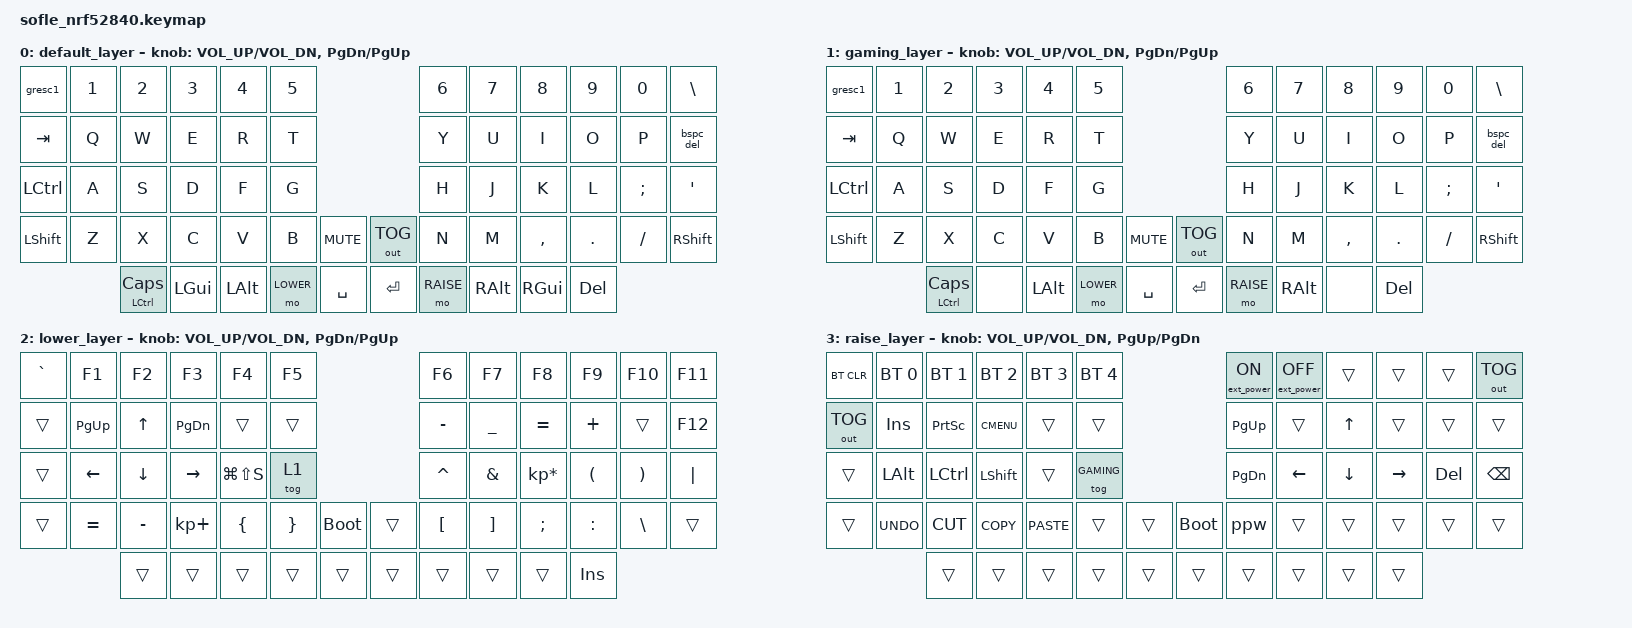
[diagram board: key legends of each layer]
/*
 * Copyright (c) 2020 The ZMK Contributors
 *
 * SPDX-License-Identifier: MIT
 */

#include <behaviors.dtsi>
#include <dt-bindings/zmk/bt.h>
#include <dt-bindings/zmk/ext_power.h>
#include <dt-bindings/zmk/keys.h>
#include <dt-bindings/zmk/outputs.h>

#define DEFAULT 0
#define GAMING  1
#define LOWER   2
#define RAISE   3
#define PAUSE PAUSE_BREAK
#define BT_0 BT_SEL 0
#define BT_1 BT_SEL 1
#define BT_2 BT_SEL 2
#define BT_3 BT_SEL 3

&mt {
    tapping-term-ms = <200>;
};

/ {
    keymap {
        compatible = "zmk,keymap";

        default_layer {
            // ------------------------------------------------------------------------------------------------------------
            // |  GESC |  1  |  2  |  3   |  4   |  5   |                   |  6   |  7    |  8    |  9   |   0   |   \   |
            // |  TAB  |  Q  |  W  |  E   |  R   |  T   |                   |  Y   |  U    |  I    |  O   |   P   | BKSPC |
            // |  CTRL |  A  |  S  |  D   |  F   |  G   |                   |  H   |  J    |  K    |  L   |   ;   |   '   |
            // | SHIFT |  Z  |  X  |  C   |  V   |  B   |  MUTE  |  |OUT TOG|  N   |  M    |  ,    |  .   |   /   | SHIFT |
            //               | GUI | ALT  | CTRL | LOWER|  SPACE |  | ENTER | RAISE|  ALT  | GUI   | DEL  |
            // ------------------------------------------------------------------------------------------------------------

            bindings = <
&gresc1    &kp N1  &kp N2          &kp N3    &kp N4    &kp N5                                 &kp N6     &kp N7    &kp N8     &kp N9   &kp N0    &kp BSLH
&kp TAB    &kp Q   &kp W           &kp E     &kp R     &kp T                                  &kp Y      &kp U     &kp I      &kp O    &kp P     &bspc_del
&kp LCTRL  &kp A   &kp S           &kp D     &kp F     &kp G                                  &kp H      &kp J     &kp K      &kp L    &kp SEMI  &kp SQT
&kp LSHFT  &kp Z   &kp X           &kp C     &kp V     &kp B      &kp C_MUTE    &out OUT_TOG  &kp N      &kp M     &kp COMMA  &kp DOT  &kp FSLH  &kp RSHFT
                   &mt LCTRL CAPS  &kp LGUI  &kp LALT  &mo LOWER  &kp SPACE     &kp RET       &mo RAISE  &kp RALT  &kp RGUI   &kp DEL
            >;

            sensor-bindings = <&inc_dec_kp C_VOL_UP C_VOL_DN &inc_dec_kp PG_DN PG_UP>;
        };

        gaming_layer {
            // ------------------------------------------------------------------------------------------------------------
            // |  GESC |  1  |  2  |  3   |  4   |  5   |                   |  6   |  7    |  8    |  9   |   0   |   \   |
            // |  TAB  |  Q  |  W  |  E   |  R   |  T   |                   |  Y   |  U    |  I    |  O   |   P   | BKSPC |
            // |  CTRL |  A  |  S  |  D   |  F   |  G   |                   |  H   |  J    |  K    |  L   |   ;   |   '   |
            // | SHIFT |  Z  |  X  |  C   |  V   |  B   |  MUTE  |  |OUT TOG|  N   |  M    |  ,    |  .   |   /   | SHIFT |
            //               |     | ALT  | CTRL | LOWER|  SPACE |  | ENTER | RAISE|  ALT  |       | DEL  |
            // ------------------------------------------------------------------------------------------------------------

            bindings = <
&gresc1    &kp N1  &kp N2          &kp N3  &kp N4    &kp N5                                 &kp N6     &kp N7    &kp N8     &kp N9   &kp N0    &kp BSLH
&kp TAB    &kp Q   &kp W           &kp E   &kp R     &kp T                                  &kp Y      &kp U     &kp I      &kp O    &kp P     &bspc_del
&kp LCTRL  &kp A   &kp S           &kp D   &kp F     &kp G                                  &kp H      &kp J     &kp K      &kp L    &kp SEMI  &kp SQT
&kp LSHFT  &kp Z   &kp X           &kp C   &kp V     &kp B      &kp C_MUTE    &out OUT_TOG  &kp N      &kp M     &kp COMMA  &kp DOT  &kp FSLH  &kp RSHFT
                   &mt LCTRL CAPS  &none   &kp LALT  &mo LOWER  &kp SPACE     &kp RET       &mo RAISE  &kp RALT  &none      &kp DEL
            >;

            sensor-bindings = <&inc_dec_kp C_VOL_UP C_VOL_DN &inc_dec_kp PG_DN PG_UP>;
        };

        lower_layer {
            // TODO: Some binds are waiting for shifted keycode support.
            // ------------------------------------------------------------------------------------------------------------
            // |  `    |   F1 |  F2  |  F3  |  F4  |  F5  |                   |  F6  |  F7   |  F8   |  F9  |  F10  |  F11  |
            // |       | PGUP |  ^   | PGDN |      |      |                   |  -   |  _    |  =    |  +   |       |  F12  |
            // |       |   <- |  v   |  ->  | SNIP | TOG 1|                   |  ^   |  &    |  *    |  (   |   )   |   |   |
            // |       |   =  |  -   |  +   |  {   |  }   |  BOOT  |  |       |  [   |  ]    |  ;    |  :   |   \   |       |
            //                |      |      |      |      |        |  |       |      |       |       | INS  |
            // ------------------------------------------------------------------------------------------------------------

            bindings = <
&kp GRAVE  &kp F1     &kp F2     &kp F3       &kp F4         &kp F5                           &kp F6     &kp F7     &kp F8           &kp F9     &kp F10   &kp F11
&trans     &kp PG_UP  &kp UP     &kp PG_DN    &trans         &trans                           &kp MINUS  &kp UNDER  &kp EQUAL        &kp PLUS   &trans    &kp F12
&trans     &kp LEFT   &kp DOWN   &kp RIGHT    &kp LG(LS(S))  &tog 1                           &kp CARET  &kp AMPS   &kp KP_MULTIPLY  &kp LPAR   &kp RPAR  &kp PIPE
&trans     &kp EQUAL  &kp MINUS  &kp KP_PLUS  &kp LBRC       &kp RBRC  &bootloader    &trans  &kp LBKT   &kp RBKT   &kp SEMI         &kp COLON  &kp BSLH  &trans
                      &trans     &trans       &trans         &trans    &trans         &trans  &trans     &trans     &trans           &kp INS
            >;

            sensor-bindings = <&inc_dec_kp C_VOL_UP C_VOL_DN &inc_dec_kp PG_DN PG_UP>;
        };

        raise_layer {
            // ------------------------------------------------------------------------------------------------------------
            // |BTCLR| BT1  | BT2  |  BT3  |  BT4  |  BT5 |                |      |      |       |      |       |  OUT  |
            // |     | INS  | PSCR | GUI   |       |      |                | PGUP |      |   ^   |      |       |       |
            // |     | ALT  | CTRL | SHIFT |       | TOG 1|                | PGDN |   <- |   v   |  ->  |  DEL  | BKSPC |
            // |     | UNDO | CUT  | COPY  | PASTE |      |      |  | BOOT |      |      |       |      |       |       |
            //              |      |       |       |      |      |  |      |      |      |       |      |
            // ------------------------------------------------------------------------------------------------------------

            bindings = <
&bt BT_CLR    &bt BT_SEL 0  &bt BT_SEL 1  &bt BT_SEL 2  &bt BT_SEL 3  &bt BT_SEL 4                         &ext_power EP_ON  &ext_power EP_OFF  &trans    &trans     &trans   &out OUT_TOG
&out OUT_TOG  &kp INS       &kp PSCRN     &kp K_CMENU   &trans        &trans                               &kp PG_UP         &trans             &kp UP    &trans     &trans   &trans
&trans        &kp LALT      &kp LCTRL     &kp LSHFT     &trans        &tog GAMING                          &kp PG_DN         &kp LEFT           &kp DOWN  &kp RIGHT  &kp DEL  &kp BSPC
&trans        &kp K_UNDO    &kp K_CUT     &kp K_COPY    &kp K_PASTE   &trans        &trans    &bootloader  &ppw              &trans             &trans    &trans     &trans   &trans
                            &trans        &trans        &trans        &trans        &trans    &trans       &trans            &trans             &trans    &trans
            >;

            sensor-bindings = <&inc_dec_kp C_VOL_UP C_VOL_DN &inc_dec_kp PG_UP PG_DN>;
        };
    };
};

/ {
    behaviors {
        bspc_del: backspace_delete {
            compatible = "zmk,behavior-mod-morph";
            #binding-cells = <0>;
            bindings = <&kp BACKSPACE>, <&kp DELETE>;
            mods = <(MOD_LSFT|MOD_RSFT)>;
        };
        gresc1: grave_escape1 {
            compatible = "zmk,behavior-mod-morph";
            #binding-cells = <0>;
            bindings = <&kp ESC>, <&kp GRAVE>;
            mods = <(MOD_LGUI|MOD_LSFT|MOD_RGUI|MOD_RSFT)>;
            keep-mods = <(MOD_LGUI|MOD_LSFT|MOD_RGUI|MOD_RSFT)>;
        };
    };
};

/ {
    macros {
        ppw: ppw {
            compatible = "zmk,behavior-macro";
            #binding-cells = <0>;
            bindings = <&kp LS(A) &kp LS(S) &kp LS(D) &kp LS(F) &kp Q &kp W &kp E &kp R &kp N1 &kp N2 &kp N3 &kp N4 &kp EXCL &kp AT &kp POUND &kp DLLR>;
        };
    };
};
